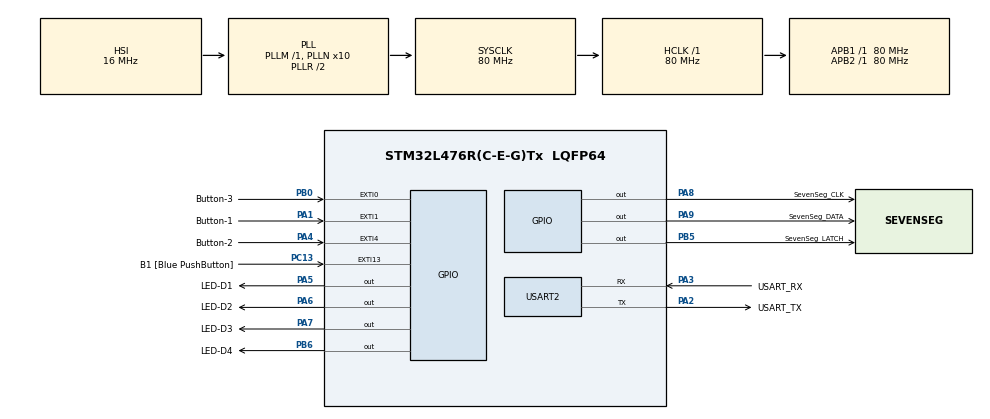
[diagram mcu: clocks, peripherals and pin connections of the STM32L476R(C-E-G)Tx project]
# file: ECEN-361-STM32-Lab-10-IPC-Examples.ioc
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FREERTOS.BinarySemaphores01=Button_1_Semaphore,Dynamic,NULL,;Button_2_Semaphore,Dynamic,NULL,;Button_3_Semaphore,Dynamic,NULL,
FREERTOS.CountingSemaphores01=Semaphore_Counting,31,Dynamic,NULL,31
FREERTOS.Mutexes01=UpDownMutex,Dynamic,NULL
FREERTOS.Tasks01=defaultTask,24,128,Default_Task,Default,NULL,Dynamic,NULL,NULL;NotifyToggle,8,128,NotifyToggleTask,Default,NULL,Dynamic,NULL,NULL;SW_Timer_Toggle,8,128,SW_Timer_Task,Default,NULL,Dynamic,NULL,NULL;Mutex_CountUp,8,128,Mutex_CountUpTask,Default,NULL,Dynamic,NULL,NULL;Mutex_CountDown,8,128,Mutex_CountDownTask,Default,NULL,Dynamic,NULL,NULL;UpdateGlobDisp,8,128,UpdateGlobDisplayProcess,Default,NULL,Dynamic,NULL,NULL;ResetGlobal,8,128,ResetGlobalTask,Default,NULL,Dynamic,NULL,NULL;DebounceTask,8,128,StartDebounce,Default,NULL,Dynamic,NULL,NULL;SemaphoreToggle,24,128,Semaphore_Toggle_Task,Default,NULL,Dynamic,NULL,NULL;Semaphore_Toggl,23,128,Semaphore_Toggle_D3_Task,Default,NULL,Dynamic,NULL,NULL;Reset_MutexCoun,40,128,Reset_MutexCount_Task,Default,NULL,Dynamic,NULL,NULL
FREERTOS.Timers01=SW_Timer_7Seg,SW_Timer_Countdown,osTimerPeriodic,Default,NULL,Dynamic,NULL;SW_Timer_Refresh_Display,SW_Timer_Display_Execute,osTimerPeriodic,Default,NULL,Dynamic,NULL
FREERTOS.configTOTAL_HEAP_SIZE=15000
FREERTOS.configUSE_NEWLIB_REENTRANT=1
Mcu.Family=STM32L4
Mcu.Name=STM32L476R(C-E-G)Tx
Mcu.Package=LQFP64
NVIC.EXTI0_IRQn=true\:5\:0\:false\:false\:true\:true\:true\:true\:true
NVIC.EXTI1_IRQn=true\:5\:0\:false\:false\:true\:true\:true\:true\:true
NVIC.EXTI4_IRQn=true\:5\:0\:false\:false\:true\:true\:true\:true\:true
NVIC.PriorityGroup=NVIC_PRIORITYGROUP_4
NVIC.TIM1_TRG_COM_TIM17_IRQn=true\:5\:0\:false\:false\:true\:true\:true\:true\:true
NVIC.TIM3_IRQn=true\:15\:0\:false\:false\:true\:false\:false\:true\:true
NVIC.TimeBase=TIM3_IRQn
NVIC.TimeBaseIP=TIM3
PA0.Signal=ADCx_IN5
PA1.GPIO_Label=Button-1
PA1.GPIO_ModeDefaultEXTI=GPIO_MODE_IT_FALLING
PA1.Signal=GPXTI1
PA13\ (JTMS-SWDIO).GPIO_Label=TMS
PA13\ (JTMS-SWDIO).Mode=Serial_Wire
PA13\ (JTMS-SWDIO).Signal=SYS_JTMS-SWDIO
PA14\ (JTCK-SWCLK).GPIO_Label=TCK
PA14\ (JTCK-SWCLK).Mode=Serial_Wire
PA14\ (JTCK-SWCLK).Signal=SYS_JTCK-SWCLK
PA2.GPIO_Label=USART_TX
PA2.GPIO_Mode=GPIO_MODE_AF_PP
PA2.GPIO_PuPd=GPIO_NOPULL
PA2.GPIO_Speed=GPIO_SPEED_FREQ_VERY_HIGH
PA2.Mode=Asynchronous
PA2.Signal=USART2_TX
PA3.GPIO_Label=USART_RX
PA3.GPIO_Mode=GPIO_MODE_AF_PP
PA3.GPIO_PuPd=GPIO_NOPULL
PA3.GPIO_Speed=GPIO_SPEED_FREQ_VERY_HIGH
PA3.Mode=Asynchronous
PA3.Signal=USART2_RX
PA4.GPIO_Label=Button-2
PA4.GPIO_ModeDefaultEXTI=GPIO_MODE_IT_FALLING
PA4.Signal=GPXTI4
PA5.GPIO_Label=LED-D1
PA5.GPIO_ModeDefaultOutputPP=GPIO_MODE_OUTPUT_OD
PA5.GPIO_PuPd=GPIO_PULLUP
PA5.GPIO_Speed=GPIO_SPEED_FREQ_LOW
PA5.PinState=GPIO_PIN_RESET
PA5.Signal=GPIO_Output
PA6.GPIO_Label=LED-D2
PA6.GPIO_ModeDefaultOutputPP=GPIO_MODE_OUTPUT_OD
PA6.GPIO_PuPd=GPIO_PULLUP
PA6.GPIO_Speed=GPIO_SPEED_FREQ_LOW
PA6.PinState=GPIO_PIN_RESET
PA6.Signal=GPIO_Output
PA7.GPIO_Label=LED-D3
PA7.GPIO_ModeDefaultOutputPP=GPIO_MODE_OUTPUT_OD
PA7.GPIO_PuPd=GPIO_PULLUP
PA7.Signal=GPIO_Output
PA8.GPIO_Label=SevenSeg_CLK
PA8.Signal=GPIO_Output
PA9.GPIO_Label=SevenSeg_DATA
PA9.Signal=GPIO_Output
PB0.GPIO_Label=Button-3
PB0.GPIO_ModeDefaultEXTI=GPIO_MODE_IT_FALLING
PB0.Signal=GPXTI0
PB3\ (JTDO-TRACESWO).Signal=SYS_JTDO-SWO
PB5.GPIO_Label=SevenSeg_LATCH
PB5.Signal=GPIO_Output
PB6.GPIO_Label=LED-D4
PB6.GPIO_ModeDefaultOutputPP=GPIO_MODE_OUTPUT_OD
PB6.GPIO_PuPd=GPIO_PULLUP
PB6.Signal=GPIO_Output
PC1.GPIO_Label=LM35_IN
PC1.Signal=ADCx_IN2
PC13.GPIO_Label=B1 [Blue PushButton]
PC13.GPIO_ModeDefaultEXTI=GPIO_MODE_IT_FALLING
PC13.GPIO_PuPd=GPIO_NOPULL
PC13.Signal=GPXTI13
PC14-OSC32_IN\ (PC14).Mode=LSE-External-Oscillator
PC14-OSC32_IN\ (PC14).Signal=RCC_OSC32_IN
PC15-OSC32_OUT\ (PC15).Mode=LSE-External-Oscillator
PC15-OSC32_OUT\ (PC15).Signal=RCC_OSC32_OUT
PH0-OSC_IN\ (PH0).Signal=RCC_OSC_IN
PH1-OSC_OUT\ (PH1).Signal=RCC_OSC_OUT
ProjectManager.HeapSize=0x200
ProjectManager.StackSize=0x400
ProjectManager.TargetToolchain=STM32CubeIDE
RCC.ADCFreq_Value=64000000
RCC.AHBFreq_Value=80000000
RCC.APB1Freq_Value=80000000
RCC.APB1TimFreq_Value=80000000
RCC.APB2Freq_Value=80000000
RCC.APB2TimFreq_Value=80000000
RCC.CortexFreq_Value=80000000
RCC.HCLKFreq_Value=80000000
RCC.HSE_VALUE=8000000
RCC.HSI_VALUE=16000000
RCC.MSI_VALUE=4000000
RCC.PLLN=10
RCC.PLLSourceVirtual=RCC_PLLSOURCE_HSI
RCC.PREFETCH_ENABLE=1
RCC.SYSCLKFreq_VALUE=80000000
RCC.SYSCLKSource=RCC_SYSCLKSOURCE_PLLCLK
RCC.USBFreq_Value=64000000
RCC.VCOOutputFreq_Value=160000000
SH.ADCx_IN2.0=ADC1_IN2
SH.ADCx_IN5.0=ADC2_IN5
TIM17.Period=100
TIM17.Prescaler=800-1
USART2.VirtualMode-Asynchronous=VM_ASYNC
VP_FREERTOS_VS_CMSIS_V2.Mode=CMSIS_V2
VP_SYS_VS_tim3.Mode=TIM3
VP_TIM17_VS_ClockSourceINT.Mode=Enable_Timer
board=NUCLEO-L476RG

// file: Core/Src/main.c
/* USER CODE BEGIN Header */
/**
  ******************************************************************************
  * @file           : main.c
  * @brief          : ECEN-361-Lab-10
  * IPC examples
  *
  * BYU-Idaho
  * Fall-2023 :   Lynn Watson
  *
  * See the  STUDENTS EDITABLE places below to modify for submission
  *
  ******************************************************************************
  */
/* USER CODE END Header */
#include "main.h"
#include "cmsis_os.h"

/* USER CODE BEGIN Includes */
#include "MultiFunctionShield.h"
#include <stdio.h>
#include <stdlib.h>
#include <strings.h>

/* USER CODE END Includes */

/* USER CODE BEGIN PD */
#define B1  1
#define B2  2
#define B3  4

/* USER CODE END PD */

/* USER CODE BEGIN PM */
#define PUTCHAR_PROTOTYPE int __io_putchar(int ch)
#
/* USER CODE END PM */

TIM_HandleTypeDef htim17;

UART_HandleTypeDef huart2;

/* Definitions for defaultTask */
osThreadId_t defaultTaskHandle;
const osThreadAttr_t defaultTask_attributes = {
  .name = "defaultTask",
  .stack_size = 128 * 4,
  .priority = (osPriority_t) osPriorityNormal,
};
/* Definitions for NotifyToggle */
osThreadId_t NotifyToggleHandle;
const osThreadAttr_t NotifyToggle_attributes = {
  .name = "NotifyToggle",
  .stack_size = 128 * 4,
  .priority = (osPriority_t) osPriorityLow,
};
/* Definitions for SW_Timer_Toggle */
osThreadId_t SW_Timer_ToggleHandle;
const osThreadAttr_t SW_Timer_Toggle_attributes = {
  .name = "SW_Timer_Toggle",
  .stack_size = 128 * 4,
  .priority = (osPriority_t) osPriorityLow,
};
/* Definitions for Mutex_CountUp */
osThreadId_t Mutex_CountUpHandle;
const osThreadAttr_t Mutex_CountUp_attributes = {
  .name = "Mutex_CountUp",
  .stack_size = 128 * 4,
  .priority = (osPriority_t) osPriorityLow,
};
/* Definitions for Mutex_CountDown */
osThreadId_t Mutex_CountDownHandle;
const osThreadAttr_t Mutex_CountDown_attributes = {
  .name = "Mutex_CountDown",
  .stack_size = 128 * 4,
  .priority = (osPriority_t) osPriorityLow,
};
/* Definitions for UpdateGlobDisp */
osThreadId_t UpdateGlobDispHandle;
const osThreadAttr_t UpdateGlobDisp_attributes = {
  .name = "UpdateGlobDisp",
  .stack_size = 128 * 4,
  .priority = (osPriority_t) osPriorityLow,
};
/* Definitions for ResetGlobal */
osThreadId_t ResetGlobalHandle;
const osThreadAttr_t ResetGlobal_attributes = {
  .name = "ResetGlobal",
  .stack_size = 128 * 4,
  .priority = (osPriority_t) osPriorityLow,
};
/* Definitions for DebounceTask */
osThreadId_t DebounceTaskHandle;
const osThreadAttr_t DebounceTask_attributes = {
  .name = "DebounceTask",
  .stack_size = 128 * 4,
  .priority = (osPriority_t) osPriorityLow,
};
/* Definitions for SemaphoreToggle */
osThreadId_t SemaphoreToggleHandle;
const osThreadAttr_t SemaphoreToggle_attributes = {
  .name = "SemaphoreToggle",
  .stack_size = 128 * 4,
  .priority = (osPriority_t) osPriorityNormal,
};
/* Definitions for Semaphore_Toggl */
osThreadId_t Semaphore_TogglHandle;
const osThreadAttr_t Semaphore_Toggl_attributes = {
  .name = "Semaphore_Toggl",
  .stack_size = 128 * 4,
  .priority = (osPriority_t) osPriorityBelowNormal7,
};
/* Definitions for Reset_MutexCoun */
osThreadId_t Reset_MutexCounHandle;
const osThreadAttr_t Reset_MutexCoun_attributes = {
  .name = "Reset_MutexCoun",
  .stack_size = 128 * 4,
  .priority = (osPriority_t) osPriorityHigh,
};
/* Definitions for SW_Timer_7Seg */
osTimerId_t SW_Timer_7SegHandle;
const osTimerAttr_t SW_Timer_7Seg_attributes = {
  .name = "SW_Timer_7Seg"
};
/* Definitions for SW_Timer_Refresh_Display */
osTimerId_t SW_Timer_Refresh_DisplayHandle;
const osTimerAttr_t SW_Timer_Refresh_Display_attributes = {
  .name = "SW_Timer_Refresh_Display"
};
/* Definitions for UpDownMutex */
osMutexId_t UpDownMutexHandle;
const osMutexAttr_t UpDownMutex_attributes = {
  .name = "UpDownMutex"
};
/* Definitions for Button_1_Semaphore */
osSemaphoreId_t Button_1_SemaphoreHandle;
const osSemaphoreAttr_t Button_1_Semaphore_attributes = {
  .name = "Button_1_Semaphore"
};
/* Definitions for Button_2_Semaphore */
osSemaphoreId_t Button_2_SemaphoreHandle;
const osSemaphoreAttr_t Button_2_Semaphore_attributes = {
  .name = "Button_2_Semaphore"
};
/* Definitions for Button_3_Semaphore */
osSemaphoreId_t Button_3_SemaphoreHandle;
const osSemaphoreAttr_t Button_3_Semaphore_attributes = {
  .name = "Button_3_Semaphore"
};
/* Definitions for Semaphore_Counting */
osSemaphoreId_t Semaphore_CountingHandle;
const osSemaphoreAttr_t Semaphore_Counting_attributes = {
  .name = "Semaphore_Counting"
};
/* USER CODE BEGIN PV */
osSemaphoreId_t SwitchToDebounce;  // Type has to be in here because the GUI auto

uint8_t countdown_display = 9;

/*
 * This is a global variable with multiple writers
 * But should not change, because all writers must have the mutex
 *
 */
#define Protected_Count_Initial_Value 50
uint8_t mutex_protected_count = Protected_Count_Initial_Value ;

/* USER CODE END PV */

void SystemClock_Config(void);
static void MX_GPIO_Init(void);
static void MX_USART2_UART_Init(void);
static void MX_TIM17_Init(void);
void Default_Task(void *argument);
void NotifyToggleTask(void *argument);
void SW_Timer_Task(void *argument);
void Mutex_CountUpTask(void *argument);
void Mutex_CountDownTask(void *argument);
void UpdateGlobDisplayProcess(void *argument);
void ResetGlobalTask(void *argument);
void StartDebounce(void *argument);
void Semaphore_Toggle_Task(void *argument);
void Semaphore_Toggle_D3_Task(void *argument);
void Reset_MutexCount_Task(void *argument);
void SW_Timer_Countdown(void *argument);
void SW_Timer_Display_Execute(void *argument);

int main(void)
{

  /* MCU Configuration--------------------------------------------------------*/

  /* Reset of all peripherals, Initializes the Flash interface and the Systick. */
  HAL_Init();

  /* Configure the system clock */
  SystemClock_Config();

  /* Initialize all configured peripherals */
  MX_GPIO_Init();
  MX_USART2_UART_Init();
  MX_TIM17_Init();
  /* USER CODE BEGIN 2 */
  printf("\033\143"); printf("Welcome to ECEN-361 Lab-10 \n\r");
	// Start timer
	MultiFunctionShield_Clear();							// Clear the 7-seg display
	HAL_TIM_Base_Start_IT(&htim17);							// LED SevenSeg cycle thru them
	Clear_LEDs();

  /* USER CODE END 2 */

  /* Init scheduler */
  osKernelInitialize();
  /* Create the mutex(es) */
  /* creation of UpDownMutex */
  UpDownMutexHandle = osMutexNew(&UpDownMutex_attributes);

  /* Create the semaphores(s) */
  /* creation of Button_1_Semaphore */
  Button_1_SemaphoreHandle = osSemaphoreNew(1, 0, &Button_1_Semaphore_attributes);

  /* creation of Button_2_Semaphore */
  Button_2_SemaphoreHandle = osSemaphoreNew(1, 0, &Button_2_Semaphore_attributes);

  /* creation of Button_3_Semaphore */
  Button_3_SemaphoreHandle = osSemaphoreNew(1, 0, &Button_3_Semaphore_attributes);

  /* creation of Semaphore_Counting */
  Semaphore_CountingHandle = osSemaphoreNew(31, 31, &Semaphore_Counting_attributes);

  /* Create the timer(s) */
  /* creation of SW_Timer_7Seg */
  SW_Timer_7SegHandle = osTimerNew(SW_Timer_Countdown, osTimerPeriodic, NULL, &SW_Timer_7Seg_attributes);

  /* creation of SW_Timer_Refresh_Display */
  SW_Timer_Refresh_DisplayHandle = osTimerNew(SW_Timer_Display_Execute, osTimerPeriodic, NULL, &SW_Timer_Refresh_Display_attributes);

  /* Create the thread(s) */
  /* creation of defaultTask */
  defaultTaskHandle = osThreadNew(Default_Task, NULL, &defaultTask_attributes);

  /* creation of NotifyToggle */
  NotifyToggleHandle = osThreadNew(NotifyToggleTask, NULL, &NotifyToggle_attributes);

  /* creation of SW_Timer_Toggle */
  SW_Timer_ToggleHandle = osThreadNew(SW_Timer_Task, NULL, &SW_Timer_Toggle_attributes);

  /* creation of Mutex_CountUp */
  Mutex_CountUpHandle = osThreadNew(Mutex_CountUpTask, NULL, &Mutex_CountUp_attributes);

  /* creation of Mutex_CountDown */
  Mutex_CountDownHandle = osThreadNew(Mutex_CountDownTask, NULL, &Mutex_CountDown_attributes);

  /* creation of UpdateGlobDisp */
  UpdateGlobDispHandle = osThreadNew(UpdateGlobDisplayProcess, NULL, &UpdateGlobDisp_attributes);

  /* creation of ResetGlobal */
  ResetGlobalHandle = osThreadNew(ResetGlobalTask, NULL, &ResetGlobal_attributes);

  /* creation of DebounceTask */
  DebounceTaskHandle = osThreadNew(StartDebounce, NULL, &DebounceTask_attributes);

  /* creation of SemaphoreToggle */
  SemaphoreToggleHandle = osThreadNew(Semaphore_Toggle_Task, NULL, &SemaphoreToggle_attributes);

  /* creation of Semaphore_Toggl */
  Semaphore_TogglHandle = osThreadNew(Semaphore_Toggle_D3_Task, NULL, &Semaphore_Toggl_attributes);

  /* creation of Reset_MutexCoun */
  Reset_MutexCounHandle = osThreadNew(Reset_MutexCount_Task, NULL, &Reset_MutexCoun_attributes);

  /* USER CODE BEGIN RTOS_EVENTS */
  /* add events, ... */

  osTimerStart(SW_Timer_Refresh_DisplayHandle , 5); //////////MANUAL start sw timer here

  /* USER CODE END RTOS_EVENTS */

  /* Start scheduler */
  osKernelStart();

  /* We should never get here as control is now taken by the scheduler */

  /* Infinite loop */
  while (1)
  {

  }
}

void SystemClock_Config(void)
{
  RCC_OscInitTypeDef RCC_OscInitStruct = {0};
  RCC_ClkInitTypeDef RCC_ClkInitStruct = {0};

  /** Configure the main internal regulator output voltage
  */
  if (HAL_PWREx_ControlVoltageScaling(PWR_REGULATOR_VOLTAGE_SCALE1) != HAL_OK)
  {
    Error_Handler();
  }

  /** Initializes the RCC Oscillators according to the specified parameters
  * in the RCC_OscInitTypeDef structure.
  */
  RCC_OscInitStruct.OscillatorType = RCC_OSCILLATORTYPE_HSI;
  RCC_OscInitStruct.HSIState = RCC_HSI_ON;
  RCC_OscInitStruct.HSICalibrationValue = RCC_HSICALIBRATION_DEFAULT;
  RCC_OscInitStruct.PLL.PLLState = RCC_PLL_ON;
  RCC_OscInitStruct.PLL.PLLSource = RCC_PLLSOURCE_HSI;
  RCC_OscInitStruct.PLL.PLLM = 1;
  RCC_OscInitStruct.PLL.PLLN = 10;
  RCC_OscInitStruct.PLL.PLLP = RCC_PLLP_DIV7;
  RCC_OscInitStruct.PLL.PLLQ = RCC_PLLQ_DIV2;
  RCC_OscInitStruct.PLL.PLLR = RCC_PLLR_DIV2;
  if (HAL_RCC_OscConfig(&RCC_OscInitStruct) != HAL_OK)
  {
    Error_Handler();
  }

  /** Initializes the CPU, AHB and APB buses clocks
  */
  RCC_ClkInitStruct.ClockType = RCC_CLOCKTYPE_HCLK|RCC_CLOCKTYPE_SYSCLK
                              |RCC_CLOCKTYPE_PCLK1|RCC_CLOCKTYPE_PCLK2;
  RCC_ClkInitStruct.SYSCLKSource = RCC_SYSCLKSOURCE_PLLCLK;
  RCC_ClkInitStruct.AHBCLKDivider = RCC_SYSCLK_DIV1;
  RCC_ClkInitStruct.APB1CLKDivider = RCC_HCLK_DIV1;
  RCC_ClkInitStruct.APB2CLKDivider = RCC_HCLK_DIV1;

  if (HAL_RCC_ClockConfig(&RCC_ClkInitStruct, FLASH_LATENCY_4) != HAL_OK)
  {
    Error_Handler();
  }
}

static void MX_TIM17_Init(void)
{

  htim17.Instance = TIM17;
  htim17.Init.Prescaler = 800-1;
  htim17.Init.CounterMode = TIM_COUNTERMODE_UP;
  htim17.Init.Period = 100;
  htim17.Init.ClockDivision = TIM_CLOCKDIVISION_DIV1;
  htim17.Init.RepetitionCounter = 0;
  htim17.Init.AutoReloadPreload = TIM_AUTORELOAD_PRELOAD_DISABLE;
  if (HAL_TIM_Base_Init(&htim17) != HAL_OK)
  {
    Error_Handler();
  }

}

static void MX_USART2_UART_Init(void)
{

  huart2.Instance = USART2;
  huart2.Init.BaudRate = 115200;
  huart2.Init.WordLength = UART_WORDLENGTH_8B;
  huart2.Init.StopBits = UART_STOPBITS_1;
  huart2.Init.Parity = UART_PARITY_NONE;
  huart2.Init.Mode = UART_MODE_TX_RX;
  huart2.Init.HwFlowCtl = UART_HWCONTROL_NONE;
  huart2.Init.OverSampling = UART_OVERSAMPLING_16;
  huart2.Init.OneBitSampling = UART_ONE_BIT_SAMPLE_DISABLE;
  huart2.AdvancedInit.AdvFeatureInit = UART_ADVFEATURE_NO_INIT;
  if (HAL_UART_Init(&huart2) != HAL_OK)
  {
    Error_Handler();
  }

}

static void MX_GPIO_Init(void)
{
  GPIO_InitTypeDef GPIO_InitStruct = {0};

  /* GPIO Ports Clock Enable */
  __HAL_RCC_GPIOC_CLK_ENABLE();
  __HAL_RCC_GPIOH_CLK_ENABLE();
  __HAL_RCC_GPIOA_CLK_ENABLE();
  __HAL_RCC_GPIOB_CLK_ENABLE();

  /*Configure GPIO pin Output Level */
  HAL_GPIO_WritePin(GPIOA, LED_D1_Pin|LED_D2_Pin|LED_D3_Pin|SevenSeg_CLK_Pin
                          |SevenSeg_DATA_Pin, GPIO_PIN_RESET);

  /*Configure GPIO pin Output Level */
  HAL_GPIO_WritePin(GPIOB, SevenSeg_LATCH_Pin|LED_D4_Pin, GPIO_PIN_RESET);

  /*Configure GPIO pin : B1_Pin */
  GPIO_InitStruct.Pin = B1_Pin;
  GPIO_InitStruct.Mode = GPIO_MODE_IT_FALLING;
  GPIO_InitStruct.Pull = GPIO_NOPULL;
  HAL_GPIO_Init(B1_GPIO_Port, &GPIO_InitStruct);

  /*Configure GPIO pin : LM35_IN_Pin */
  GPIO_InitStruct.Pin = LM35_IN_Pin;
  GPIO_InitStruct.Mode = GPIO_MODE_ANALOG_ADC_CONTROL;
  GPIO_InitStruct.Pull = GPIO_NOPULL;
  HAL_GPIO_Init(LM35_IN_GPIO_Port, &GPIO_InitStruct);

  /*Configure GPIO pin : PA0 */
  GPIO_InitStruct.Pin = GPIO_PIN_0;
  GPIO_InitStruct.Mode = GPIO_MODE_ANALOG_ADC_CONTROL;
  GPIO_InitStruct.Pull = GPIO_NOPULL;
  HAL_GPIO_Init(GPIOA, &GPIO_InitStruct);

  /*Configure GPIO pins : Button_1_Pin Button_2_Pin */
  GPIO_InitStruct.Pin = Button_1_Pin|Button_2_Pin;
  GPIO_InitStruct.Mode = GPIO_MODE_IT_FALLING;
  GPIO_InitStruct.Pull = GPIO_NOPULL;
  HAL_GPIO_Init(GPIOA, &GPIO_InitStruct);

  /*Configure GPIO pins : LED_D1_Pin LED_D2_Pin LED_D3_Pin */
  GPIO_InitStruct.Pin = LED_D1_Pin|LED_D2_Pin|LED_D3_Pin;
  GPIO_InitStruct.Mode = GPIO_MODE_OUTPUT_OD;
  GPIO_InitStruct.Pull = GPIO_PULLUP;
  GPIO_InitStruct.Speed = GPIO_SPEED_FREQ_LOW;
  HAL_GPIO_Init(GPIOA, &GPIO_InitStruct);

  /*Configure GPIO pin : Button_3_Pin */
  GPIO_InitStruct.Pin = Button_3_Pin;
  GPIO_InitStruct.Mode = GPIO_MODE_IT_FALLING;
  GPIO_InitStruct.Pull = GPIO_NOPULL;
  HAL_GPIO_Init(Button_3_GPIO_Port, &GPIO_InitStruct);

  /*Configure GPIO pins : SevenSeg_CLK_Pin SevenSeg_DATA_Pin */
  GPIO_InitStruct.Pin = SevenSeg_CLK_Pin|SevenSeg_DATA_Pin;
  GPIO_InitStruct.Mode = GPIO_MODE_OUTPUT_PP;
  GPIO_InitStruct.Pull = GPIO_NOPULL;
  GPIO_InitStruct.Speed = GPIO_SPEED_FREQ_LOW;
  HAL_GPIO_Init(GPIOA, &GPIO_InitStruct);

  /*Configure GPIO pin : SevenSeg_LATCH_Pin */
  GPIO_InitStruct.Pin = SevenSeg_LATCH_Pin;
  GPIO_InitStruct.Mode = GPIO_MODE_OUTPUT_PP;
  GPIO_InitStruct.Pull = GPIO_NOPULL;
  GPIO_InitStruct.Speed = GPIO_SPEED_FREQ_LOW;
  HAL_GPIO_Init(SevenSeg_LATCH_GPIO_Port, &GPIO_InitStruct);

  /*Configure GPIO pin : LED_D4_Pin */
  GPIO_InitStruct.Pin = LED_D4_Pin;
  GPIO_InitStruct.Mode = GPIO_MODE_OUTPUT_OD;
  GPIO_InitStruct.Pull = GPIO_PULLUP;
  GPIO_InitStruct.Speed = GPIO_SPEED_FREQ_LOW;
  HAL_GPIO_Init(LED_D4_GPIO_Port, &GPIO_InitStruct);

  /* EXTI interrupt init*/
  HAL_NVIC_SetPriority(EXTI0_IRQn, 5, 0);
  HAL_NVIC_EnableIRQ(EXTI0_IRQn);

  HAL_NVIC_SetPriority(EXTI1_IRQn, 5, 0);
  HAL_NVIC_EnableIRQ(EXTI1_IRQn);

  HAL_NVIC_SetPriority(EXTI4_IRQn, 5, 0);
  HAL_NVIC_EnableIRQ(EXTI4_IRQn);

}

/* USER CODE BEGIN 4 */

void HAL_GPIO_EXTI_Callback(uint16_t GPIO_Pin)
	{
	//BaseType_t pxH ;
	uint32_t pxH = 0 ;
	// All three buttons generate GPIO  interrupts
	switch(GPIO_Pin)
		{
		case Button_1_Pin:
			pxH = 1;
			xTaskNotifyFromISR(DebounceTaskHandle, B1, eSetBits, (BaseType_t*) pxH );
			break  ;

		case Button_2_Pin:
			pxH = 2;
			xTaskNotifyFromISR(DebounceTaskHandle, B2, eSetBits, (BaseType_t*) pxH );
			break;

		case Button_3_Pin:
			pxH = 3;
			xTaskNotifyFromISR(DebounceTaskHandle, B3, eSetBits, (BaseType_t*) pxH );
			// srand((unsigned) uwTick );
			// osSemaphoreRelease(Button_3_SemaphoreHandle);
			break;
		}

	}

/**
  * @brief  Retargets the C library printf function to the USART.
  * @param  None
  * @retval None
  */
PUTCHAR_PROTOTYPE
{
  /* Place your implementation of fputc here */
  /* e.g. write a character to the USART1 and Loop until the end of transmission */
  HAL_UART_Transmit(&huart2, (uint8_t *)&ch, 1, 0xFFFF);

  return ch;
}

int random_wait(int min)
	{
	/* Return a random number between 200 - 300
	 * Meant to be mS for the count up or count down in the protected
	 * mutex demonstration routines
	 */
	int rand_millisec = min + (rand() % 99);
	return rand_millisec;

	}

/* USER CODE END 4 */

void Default_Task(void *argument)
{
  for(;;)
  {
    osDelay(1);
  }
}

void NotifyToggleTask(void *argument)
{
  /* USER CODE BEGIN NotifyToggleTask */
  /* Infinite loop */
 // unsigned int *p = 0;
 uint32_t *p = 0 ;
  for(;;)
  {
	xTaskNotifyWait( 0,  0, p, osWaitForever);
	HAL_GPIO_TogglePin(LED_D2_GPIO_Port , LED_D2_Pin);
    osDelay(20);
  }
  /* USER CODE END NotifyToggleTask */
}

void SW_Timer_Task(void *argument)
{
  /* USER CODE BEGIN SW_Timer_Task */
  /* Infinite loop */
  for(;;)
  {
	osSemaphoreAcquire(Button_2_SemaphoreHandle,osWaitForever);
	  // A button push starts or stops the SW Timer
	  // Button push is indicated by the semaphore
	if (osTimerIsRunning(SW_Timer_7SegHandle))
		osTimerStop(SW_Timer_7SegHandle );
	else
		osTimerStart(SW_Timer_7SegHandle , 1000);

    osDelay(1);
  }
  /* USER CODE END SW_Timer_Task */
}

void Mutex_CountUpTask(void *argument)
{
  /* USER CODE BEGIN Mutex_CountUpTask */
  /* Infinite loop */
  for(;;)
  {
	  osMutexWait(UpDownMutexHandle,osWaitForever);
	  // Once we have it, we can start counting Up
	  // THe count up will be some random between 200 - 300 mS

	if (mutex_protected_count<99)
		mutex_protected_count++;
	else
		mutex_protected_count=0;
	// Done writing, so give back the mutex
	osMutexRelease(UpDownMutexHandle);
    osDelay(random_wait(300));
  }
  /* USER CODE END Mutex_CountUpTask */
}

void Mutex_CountDownTask(void *argument)
{
  /* USER CODE BEGIN Mutex_CountDownTask */
  /* Infinite loop */
  for(;;)
  {
	  osMutexWait(UpDownMutexHandle,osWaitForever);
	  if (mutex_protected_count<1)
	  		mutex_protected_count=99;
	  	else
	  		mutex_protected_count--;
	  	// Done writing, so give back the mutex
		osMutexRelease(UpDownMutexHandle);
		osDelay(random_wait(200));
  }
  /* USER CODE END Mutex_CountDownTask */
}

void UpdateGlobDisplayProcess(void *argument)
{
  /* USER CODE BEGIN UpdateGlobDisplayProcess */
  /* Infinite loop
   * This just puts the value of the GlobalVariable on the
   * right-most two-digits of the 7Seg Display */

  for(;;)
	  {
	  MultiFunctionShield_Display_Two_Digits(mutex_protected_count);
	  osDelay(150);	// The competing process to inc/dec are 200 - 300mS
					// So show this a bit faster
	  }
  /* USER CODE END UpdateGlobDisplayProcess */
}

void ResetGlobalTask(void *argument)
{
  /* USER CODE BEGIN ResetGlobalTask */
  /* Infinite loop */
  for(;;)
		{
		/* Pressing Button 3 sets us to ask for
		 * the MUTEX protecting the global variable
		 * When we get it, we can reset the global to the middle
		 */
		osSemaphoreAcquire(Button_3_SemaphoreHandle,osWaitForever);
		// Now we have the semaphore because the button was pressed
		osMutexWait(UpDownMutexHandle,osWaitForever);
		mutex_protected_count = Protected_Count_Initial_Value ;
		osDelay(5000);	// Wait for 5 seconds before making the resource available again
		osMutexRelease(UpDownMutexHandle);
		osDelay(1);
		 }
  /* USER CODE END ResetGlobalTask */
}

void StartDebounce(void *argument)
{
  /* USER CODE BEGIN StartDebounce */
	uint32_t buttons_in;  // placeholder
	/* Infinite loop */
	for(;;)
	{
		/* We wait here until there's a notification
		 * that there's been a button and delay for debounce.
		 * Could have done the semaphore release directly from the
		 * ISR, BUT there wouldn't have been a debounce.  We want
		 * the debounce done in a thread-safe way -- not holding up the ISR.
		 * Arguments are:  bits_to_clear_entry, bits_to_clear_exit
		 * So clear all but the top (0xfffffff8) going in, then the bottom 3 (0x7) going out
		 *
		 * */
		 xTaskNotifyWait( 0xfffffff8, 0x7, &buttons_in, portMAX_DELAY);
	     osDelay(30); // Wait for debounce
	     if (buttons_in & B1) { osSemaphoreRelease(Button_1_SemaphoreHandle); }
	     if (buttons_in & B2) { osSemaphoreRelease(Button_2_SemaphoreHandle); }
	     if (buttons_in & B3) { osSemaphoreRelease(Button_3_SemaphoreHandle); }
	 }
  /* USER CODE END StartDebounce */
}

void Semaphore_Toggle_Task(void *argument)
{
  /* USER CODE BEGIN Semaphore_Toggle_Task */
  /* Infinite loop */
  for(;;)
  {
    osSemaphoreAcquire(Button_1_SemaphoreHandle, osWaitForever);
    HAL_GPIO_TogglePin(LED_D4_GPIO_Port,LED_D4_Pin);
  }
  /* USER CODE END Semaphore_Toggle_Task */
}

void Semaphore_Toggle_D3_Task(void *argument)
{
  /* USER CODE BEGIN Semaphore_Toggle_D3_Task */
  /* Infinite loop */
  for(;;)
  {
	osSemaphoreAcquire(Button_1_SemaphoreHandle, osWaitForever);
	HAL_GPIO_TogglePin(LED_D3_GPIO_Port,LED_D3_Pin);
  }
  /* USER CODE END Semaphore_Toggle_D3_Task */
}

void Reset_MutexCount_Task(void *argument)
{
  /* USER CODE BEGIN Reset_MutexCount_Task */
  /* Infinite loop */
    for(;;)
        {
        /* This doesn't change the value, it just clears the display  */
        /* If asked to display a negative number, the function displays a "--"
        */
        osMutexWait(UpDownMutexHandle,osWaitForever);
        MultiFunctionShield_Display_Two_Digits(-1);
        osDelay(200);
        osMutexRelease(UpDownMutexHandle);
        osDelay(2);
        }
  /* USER CODE END Reset_MutexCount_Task */
}

/* SW_Timer_Countdown function */
void SW_Timer_Countdown(void *argument)
{
  /* USER CODE BEGIN SW_Timer_Countdown */

	/*
	 * When the timer expires, decrement the Count and Display it
	 * on the 7-Seg Upper
	 */

	if (countdown_display == 0) countdown_display = 9;
		else countdown_display--;

	MultiFunctionShield_Single_Digit_Display(4, countdown_display);   //put it on the left
	// MultiFunctionShield_Single_Digit_Display(2, -1);//blank the bottom two

  /* USER CODE END SW_Timer_Countdown */
}

/* SW_Timer_Display_Execute function */
void SW_Timer_Display_Execute(void *argument)
{
  /* USER CODE BEGIN SW_Timer_Display_Execute */
	  MultiFunctionShield__ISRFunc();
  /* USER CODE END SW_Timer_Display_Execute */
}

void HAL_TIM_PeriodElapsedCallback(TIM_HandleTypeDef *htim)
{
  if (htim->Instance == TIM3)
  {
    HAL_IncTick();
  }
  /* USER CODE BEGIN Callback 1 */
  if (htim == &htim17 )
  {
	  //MultiFunctionShield__ISRFunc();
  }

  /* USER CODE END Callback 1 */
}

void Error_Handler(void)
{
  __disable_irq();
  while (1)
  {
  }
}
